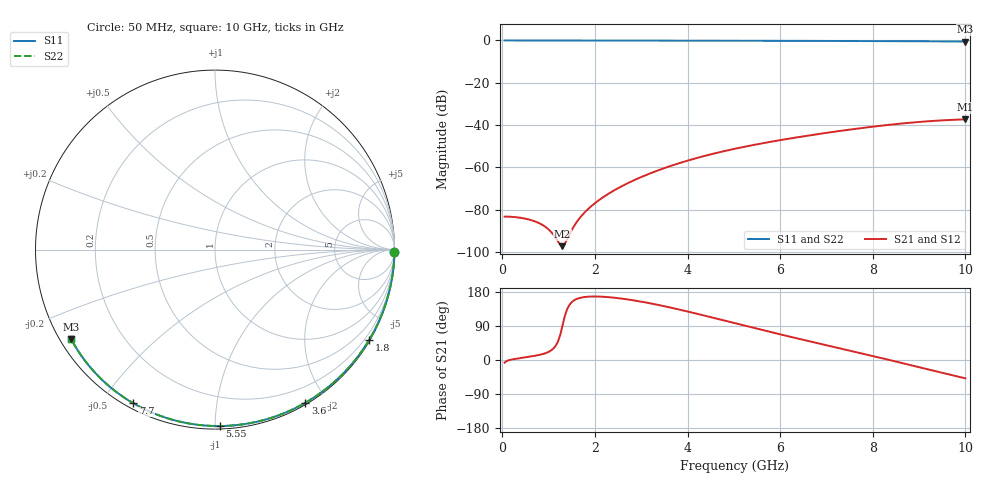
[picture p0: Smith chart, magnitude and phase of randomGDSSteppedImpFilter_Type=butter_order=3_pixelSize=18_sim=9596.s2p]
! freq	dB(S11)	phase(S11)	dB(S12)	phase(S12)
!  dB(S21)	phase(S21)	dB(S22)	phase(S22)
!S-par simulation data
#  GHz  S  DB  R 50
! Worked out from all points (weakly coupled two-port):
!   200 points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, 50 MHz to 10 GHz, reference 50 ohm
!   highest |S21| = -37.29 dB at 10 GHz (marker M1); lowest = -97.2 dB at 1.3 GHz (marker M2)
!   lowest |S11| = -0.5 dB at 10 GHz (marker M3), VSWR 34.62, Z = 1.56 - j14.2 ohm
!   |S11| at or under -10 dB: nowhere
!   |S22| runs from -0.5 to 0.0 dB; largest |S21 - S12| = 0
!   S11 on the Smith chart (normalised r, x): 50 MHz: open; 1.8 GHz: 0.03, -3.67; 3.6 GHz: 0.02, -1.75; 5.55 GHz: 0.02, -1.03; 7.7 GHz: 0.02, -0.60; 10 GHz: 0.03, -0.28
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0.05  -0.00 -0.9  -83.29 -7.1  -83.29 -7.1  -0.00 -0.9
0.65  -0.01 -11.1  -85.10 10.0  -85.10 10.0  -0.01 -11.1
1.3  -0.03 -22.1  -97.23 90.6  -97.23 90.6  -0.03 -22.1
1.75  -0.04 -29.7  -81.94 165.7  -81.94 165.7  -0.04 -29.7
1.8  -0.04 -30.5  -80.79 166.5  -80.79 166.5  -0.04 -30.5
1.85  -0.04 -31.3  -79.73 167.1  -79.73 167.1  -0.04 -31.3
2  -0.04 -33.8  -76.91 167.6  -76.91 167.6  -0.04 -33.8
2.15  -0.05 -36.3  -74.50 167.1  -74.50 167.1  -0.05 -36.3
2.3  -0.05 -38.7  -72.36 165.8  -72.36 165.8  -0.05 -38.7
2.5  -0.05 -42.0  -69.82 163.2  -69.82 163.2  -0.05 -42.0
2.9  -0.06 -48.4  -65.52 156.1  -65.52 156.1  -0.06 -48.4
3.4  -0.07 -56.3  -61.11 144.5  -61.11 144.5  -0.07 -56.3
3.6  -0.08 -59.4  -59.57 139.3  -59.57 139.3  -0.08 -59.4
4.3  -0.10 -70.1  -54.97 119.1  -54.97 119.1  -0.10 -70.1
5.05  -0.12 -81.3  -51.06 96.2  -51.06 96.2  -0.12 -81.3
5.55  -0.14 -88.5  -48.88 81.0  -48.88 81.0  -0.14 -88.5
6.1  -0.17 -96.2  -46.75 64.7  -46.75 64.7  -0.17 -96.2
6.7  -0.20 -104.5  -44.65 47.5  -44.65 47.5  -0.20 -104.5
7.7  -0.27 -118.0  -41.58 19.1  -41.58 19.1  -0.27 -118.0
8.35  -0.32 -126.6  -39.88 0.3  -39.88 0.3  -0.32 -126.6
9.2  -0.40 -137.7  -38.18 -24.9  -38.18 -24.9  -0.40 -137.7
10  -0.50 -148.2  -37.29 -48.3  -37.29 -48.3  -0.50 -148.2
